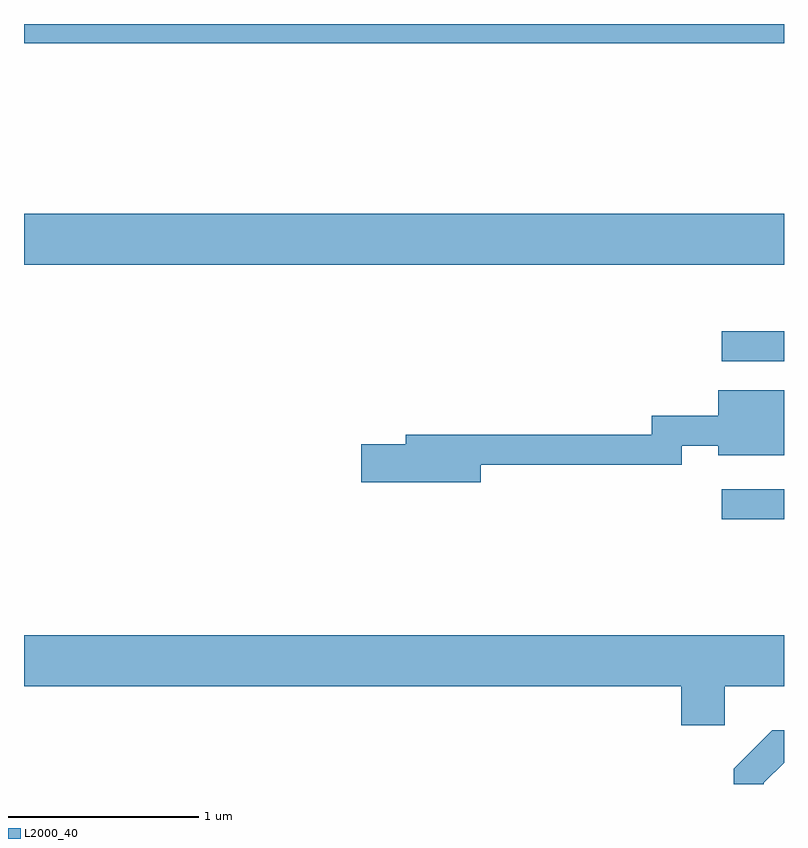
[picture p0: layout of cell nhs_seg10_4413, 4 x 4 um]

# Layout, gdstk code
import gdstk
lib = gdstk.Library(unit=1e-6, precision=1e-09)
def R(c, l, rs):  # rectangles x0, y0, x1, y1
    for r in rs: c.add(gdstk.rectangle(r[:2], r[2:], *l))
def P(c, l, *ps):  # polygons
    for p in ps: c.add(gdstk.Polygon(p, *l))
L2000_40 = (2000, 40)

nhs_seg10_4413 = lib.new_cell('nhs_seg10_4413')
R(nhs_seg10_4413, L2000_40, [(319.283,2105.916,319.611,2106.074), (319.283,2106.746,319.611,2106.904), (315.611,2107.256,319.611,2107.524), (315.611,2108.421,319.611,2108.522)])
P(nhs_seg10_4413, L2000_40, [(318.014,2106.201),(319.074,2106.201),(319.074,2106.301),(319.266,2106.301),(319.266,2106.251),(319.611,2106.251),(319.611,2106.594),(319.266,2106.594),(319.266,2106.459),(318.916,2106.459),(318.916,2106.359),(317.621,2106.359),(317.621,2106.309),(317.386,2106.309),(317.386,2106.111),(318.014,2106.111)],
  [(319.299,2105.036),(319.611,2105.036),(319.611,2105.304),(315.611,2105.304),(315.611,2105.036),(319.071,2105.036),(319.071,2104.831),(319.299,2104.831)],
  [(319.504,2104.529),(319.611,2104.635),(319.611,2104.804),(319.549,2104.804),(319.346,2104.602),(319.346,2104.522),(319.504,2104.522)])

lib.write_gds('nhs_seg10_4413.gds')
